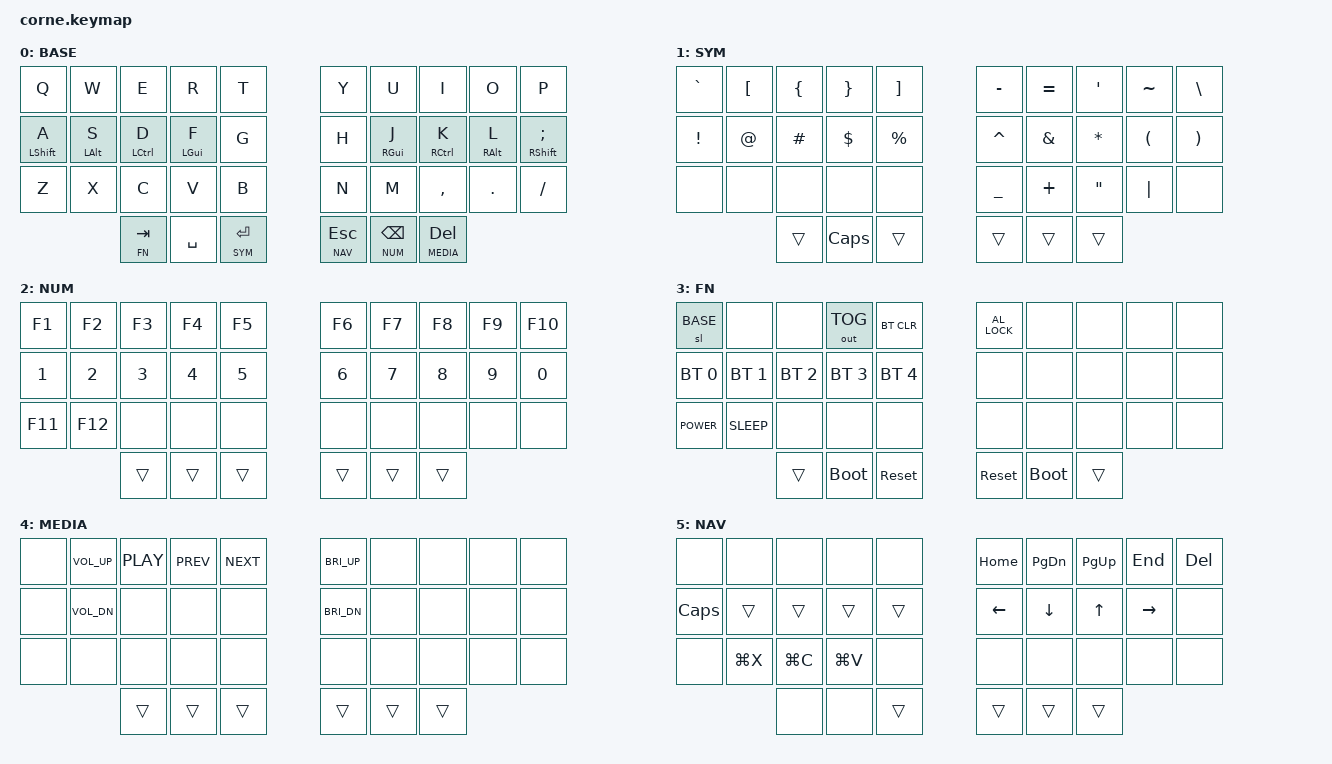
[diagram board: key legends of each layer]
// Copyright (c) 2022 The ZMK Contributors
// SPDX-License-Identifier: MIT

#include <behaviors.dtsi>
#include <dt-bindings/zmk/keys.h>
#include <dt-bindings/zmk/bt.h>
#include <dt-bindings/zmk/outputs.h>

#define QUICK_TAP_MS 150
#define TAPPING_TERM_MS 200
#define PRIOR_IDLE_MS 150

#define _SPC_    &kp SPACE
#define _CUT_    &kp LG(X)
#define _COPY_   &kp LG(C)
#define _PASTE_  &kp LG(V)
#define ___      &trans
#define _x_      &none

#define BASE 0
#define SYM 1
#define NUM 2
#define FN 3
#define MEDIA 4
#define NAV 5

// Key position groups for home row mods (5-column layout = 36 keys)
#define LEFT_KEYS 0 1 2 3 4 5 6 7 8 9 10 11 12 13 14
#define RIGHT_KEYS 15 16 17 18 19 20 21 22 23 24 25 26 27 28 29
#define THUMB_KEYS 30 31 32 33 34 35

/ {
    chosen {
        zmk,matrix_transform = &five_column_transform;
    };
  };

/ {
    behaviors {
        hml: hml {
          compatible = "zmk,behavior-hold-tap";
          #binding-cells = <2>;
          flavor = "balanced";
          tapping-term-ms = <TAPPING_TERM_MS>;
          quick-tap-ms = <QUICK_TAP_MS>;
          require-prior-idle-ms = <PRIOR_IDLE_MS>;
          bindings = <&kp>, <&kp>;
          hold-trigger-key-positions = <RIGHT_KEYS THUMB_KEYS>;
          hold-trigger-on-release;
        };

        hmr: hmr {
          compatible = "zmk,behavior-hold-tap";
          #binding-cells = <2>;
          flavor = "balanced";
          tapping-term-ms = <TAPPING_TERM_MS>;
          quick-tap-ms = <QUICK_TAP_MS>;
          require-prior-idle-ms = <PRIOR_IDLE_MS>;
          bindings = <&kp>, <&kp>;
          hold-trigger-key-positions = <LEFT_KEYS THUMB_KEYS>;
          hold-trigger-on-release;
        };
    };

    macros {
        colon_equal: colon_equal {
            compatible = "zmk,behavior-macro";
            #binding-cells = <0>;
            bindings = <&kp COLON &kp EQUAL>;
        };
    };

    combos {
        compatible = "zmk,combos";
        combo_colon_equal {
            timeout-ms = <75>;
            key-positions = <24 29>; // ; + /
            bindings = <&colon_equal>;
            layers = <BASE>;
        };
        combo_esc {
            timeout-ms = <75>;
            key-positions = <21 22>; // J + K
            bindings = <&kp ESC>;
            layers = <BASE>;
        };
        combo_apostrophe {
            timeout-ms = <75>;
            key-positions = <23 24>; // L + ;
            bindings = <&kp SQT>;
            layers = <BASE>;
        };
        combo_lpar {
            timeout-ms = <75>;
            key-positions = <3 4>; // R + T
            bindings = <&kp LPAR>;
            layers = <BASE>;
        };
        combo_rpar {
            timeout-ms = <75>;
            key-positions = <15 16>; // Y + U
            bindings = <&kp RPAR>;
            layers = <BASE>;
        };
        combo_lbkt {
            timeout-ms = <75>;
            key-positions = <8 9>; // F + G
            bindings = <&kp LBKT>;
            layers = <BASE>;
        };
        combo_rbkt {
            timeout-ms = <75>;
            key-positions = <20 21>; // H + J
            bindings = <&kp RBKT>;
            layers = <BASE>;
        };
        combo_lbrc {
            timeout-ms = <75>;
            key-positions = <13 14>; // V + B
            bindings = <&kp LBRC>;
            layers = <BASE>;
        };
        combo_rbrc {
            timeout-ms = <75>;
            key-positions = <25 26>; // N + M
            bindings = <&kp RBRC>;
            layers = <BASE>;
        };
    };

    keymap {
        compatible = "zmk,keymap";
        default_layer {
            display-name = "BASE";
            bindings = <
        //╭──────────┬──────────┬──────────┬──────────┬──────────╮   ╭──────────┬──────────┬──────────┬──────────┬──────────╮
        //│  Q       │  W       │  E       │  R       │  T       │   │  Y       │  U       │  I       │  O       │  P       │
            &kp Q    &kp W      &kp E      &kp R      &kp T          &kp Y      &kp U      &kp I      &kp O      &kp P
        //├──────────┼──────────┼──────────┼──────────┼──────────┤   ├──────────┼──────────┼──────────┼──────────┼──────────┤
        //│  A       │  S       │  D       │  F       │  G       │   │  H       │  J       │  K       │  L       │ ; :      │
     &hml LSHFT A &hml LALT S &hml LCTRL D  &hml LGUI F  &kp G      &kp H  &hmr RGUI J &hmr RCTRL K &hmr RALT L  &hmr RSHFT SEMI
        //├──────────┼──────────┼──────────┼──────────┼──────────┤   ├──────────┼──────────┼──────────┼──────────┼──────────┤
        //│  Z       │  X       │  C       │  V       │  B       │   │  N       │  M       │ , <      │ . >      │ / ?      │
            &kp Z      &kp X      &kp C      &kp V      &kp B          &kp N      &kp M      &kp COMMA  &kp DOT    &kp FSLH
        //╰──────────┴──────────┴──────────┼──────────┼──────────┤   ├──────────┼──────────┼──────────┴──────────┴──────────╯
                               &lt FN TAB    _SPC_    &lt SYM ENTER      &lt NAV ESC  &lt NUM BSPC  &lt MEDIA DEL
        //                      ╰──────────┴──────────┴──────────╯   ╰──────────┴──────────┴──────────╯
            >;
        };

        // layer 1
        symbols_layer {
            display-name = "SYM";
            bindings = <
        //╭──────────┬──────────┬──────────┬──────────┬──────────╮   ╭──────────┬──────────┬──────────┬──────────┬──────────╮
        //│  `       │  [       │  {       │  }       │  ]       │   │  -       │  =       │  '       │  ~       │  \       │
            &kp GRAVE  &kp LBKT   &kp LBRC   &kp RBRC   &kp RBKT      &kp MINUS  &kp EQUAL  &kp SQT    &kp TILDE  &kp BSLH
        //├──────────┼──────────┼──────────┼──────────┼──────────┤   ├──────────┼──────────┼──────────┼──────────┼──────────┤
        //│  !       │  @       │  #       │  $       │  %       │   │  ^       │  &       │  *       │  (       │  )       │
            &kp EXCL   &kp AT     &kp HASH   &kp DLLR   &kp PRCNT      &kp CARET  &kp AMPS   &kp ASTRK  &kp LPAR   &kp RPAR
        //├──────────┼──────────┼──────────┼──────────┼──────────┤   ├──────────┼──────────┼──────────┼──────────┼──────────┤
        //│          │          │          │          │          │   │  _       │  +       │  "       │  |       │          │
              _x_        _x_        _x_        _x_         _x_         &kp UNDER  &kp PLUS   &kp DQT    &kp PIPE     _x_
        //╰──────────┴──────────┴──────────┼──────────┼──────────┤   ├──────────┼──────────┼──────────┴──────────┴──────────╯
                                    ___    &kp CAPSLOCK   ___            ___        ___        ___
        //                      ╰──────────┴──────────┴──────────╯   ╰──────────┴──────────┴──────────╯
            >;
        };

        // layer 2
        number_layer {
            display-name = "NUM";
            bindings = <
        //╭──────────┬──────────┬──────────┬──────────┬──────────╮   ╭──────────┬──────────┬──────────┬──────────┬──────────╮
        //│  F1      │  F2      │  F3      │  F4      │  F5      │   │  F6      │  F7      │  F8      │  F9      │  F10     │
            &kp F1     &kp F2     &kp F3     &kp F4     &kp F5         &kp F6     &kp F7     &kp F8     &kp F9     &kp F10
        //├──────────┼──────────┼──────────┼──────────┼──────────┤   ├──────────┼──────────┼──────────┼──────────┼──────────┤
        //│  1       │  2       │  3       │  4       │  5       │   │  6       │  7       │  8       │  9       │  0       │
            &kp N1     &kp N2     &kp N3     &kp N4     &kp N5         &kp N6     &kp N7     &kp N8     &kp N9     &kp N0
        //├──────────┼──────────┼──────────┼──────────┼──────────┤   ├──────────┼──────────┼──────────┼──────────┼──────────┤
        //│  F11     │  F12     │          │          │          │   │          │          │          │          │          │
            &kp F11    &kp F12      _x_        _x_        _x_            _x_        _x_        _x_        _x_        _x_
        //╰──────────┴──────────┴──────────┼──────────┼──────────┤   ├──────────┼──────────┼──────────┴──────────┴──────────╯
                                    ___        ___        ___            ___        ___        ___
        //                      ╰──────────┴──────────┴──────────╯   ╰──────────┴──────────┴──────────╯
            >;
        };


        FN_LAYER {
            display-name = "FN";
            bindings = <
        //╭──────────┬──────────┬──────────┬──────────┬──────────╮   ╭──────────┬──────────┬──────────┬──────────┬──────────╮
        //│          │          │          │ OUT_TOG  │ BT_CLR   │   │ LOCK     │          │          │          │          │
            &sl BASE     _x_        _x_     &out OUT_TOG  &bt BT_CLR   &kp C_AL_LOCK  _x_        _x_        _x_        _x_
        //├──────────┼──────────┼──────────┼──────────┼──────────┤   ├──────────┼──────────┼──────────┼──────────┼──────────┤
        //│ BT 0     │ BT 1     │ BT 2    │ BT 3     │ BT 4     │   │          │          │          │          │          │
 &bt BT_SEL 0 &bt BT_SEL 1  &bt BT_SEL 2 &bt BT_SEL 3 &bt BT_SEL 4    _x_        _x_        _x_        _x_        _x_
        //├──────────┼──────────┼──────────┼──────────┼──────────┤   ├──────────┼──────────┼──────────┼──────────┼──────────┤
        //│ POWER    │ SLEEP    │          │          │          │   │          │          │          │          │          │
        &kp C_POWER &kp C_SLEEP    _x_        _x_         _x_            _x_        _x_        _x_        _x_        _x_
        //╰──────────┴──────────┴──────────┼──────────┼──────────┤   ├──────────┼──────────┼──────────┴──────────┴──────────╯
                                    ___    &bootloader &sys_reset     &sys_reset &bootloader   ___
        //                      ╰──────────┴──────────┴──────────╯   ╰──────────┴──────────┴──────────╯
            >;
        };

        media_layer {
            display-name = "MEDIA";
            bindings = <
        //╭──────────┬──────────┬──────────┬──────────┬──────────╮   ╭──────────┬──────────┬──────────┬──────────┬──────────╮
        //│    -     │ VOL_UP   │ PLAY     │ PREV     │ PREV     │   │          │          │          │          │          │
              _x_    &kp C_VOL_UP &kp C_PLAY &kp C_PREV &kp C_NEXT   &kp C_BRI_UP   _x_        _x_        _x_        _x_
        //├──────────┼──────────┼──────────┼──────────┼──────────┤   ├──────────┼──────────┼──────────┼──────────┼──────────┤
        //│    -     │ VOL_DOWN │          │          │          │   │          │          │          │          │          │
            _x_   &kp C_VOL_DN      _x_        _x_       _x_          &kp C_BRI_DN   _x_        _x_        _x_        _x_
        //├──────────┼──────────┼──────────┼──────────┼──────────┤   ├──────────┼──────────┼──────────┼──────────┼──────────┤
        //│          │          │          │          │          │   │          │          │          │          │          │
              _x_        _x_        _x_         _x_       _x_            _x_        _x_        _x_        _x_        _x_
        //╰──────────┴──────────┴──────────┼──────────┼──────────┤   ├──────────┼──────────┼──────────┴──────────┴──────────╯
                                    ___       ___        ___             ___        ___        ___
        //                      ╰──────────┴──────────┴──────────╯   ╰──────────┴──────────┴──────────╯
            >;
        };

        navigation_layer {
            display-name = "NAV";
            bindings = <
        // ╭───────────────────────────────────────────────────────────╮   ╭───────────────────────────────────────────────────────────╮
        // │     _     │     _     │     _     │     _     │     _     │   │     _     │     _     │     _     │     _     │     _     │
                _x_         _x_         _x_         _x_         _x_           &kp HOME   &kp PG_DN  &kp PG_UP   &kp END         &kp DEL
        // ├───────────┼───────────┼───────────┼───────────┼───────────┤   ├───────────┼───────────┼───────────┼───────────┼───────────┤
              &kp CAPS      ___         ___         ___         ___           &kp LEFT    &kp DOWN     &kp UP    &kp RIGHT      _x_
        // ├───────────┼───────────┼───────────┼───────────┼───────────┤   ├───────────┼───────────┼───────────┼───────────┼───────────┤
        // │     _     │     _     │     _     │     _     │     _     │   │     _     │     _     │     _     │     _     │     _     │
                _x_         _CUT_      _COPY_     _PASTE_       _x_             _x_         _x_         _x_         _x_         _x_
        // ╰───────────┼───────────┼───────────┼───────────┼───────────╯   ╰───────────┼───────────┼───────────┼───────────┼───────────╯
                                        _x_         _x_         ___             ___         ___         ___
        //                         ╰────────────┴──────────┴───────────╯   ╰──────────┴──────────┴──────────╯
            >;
        };
    };
};
